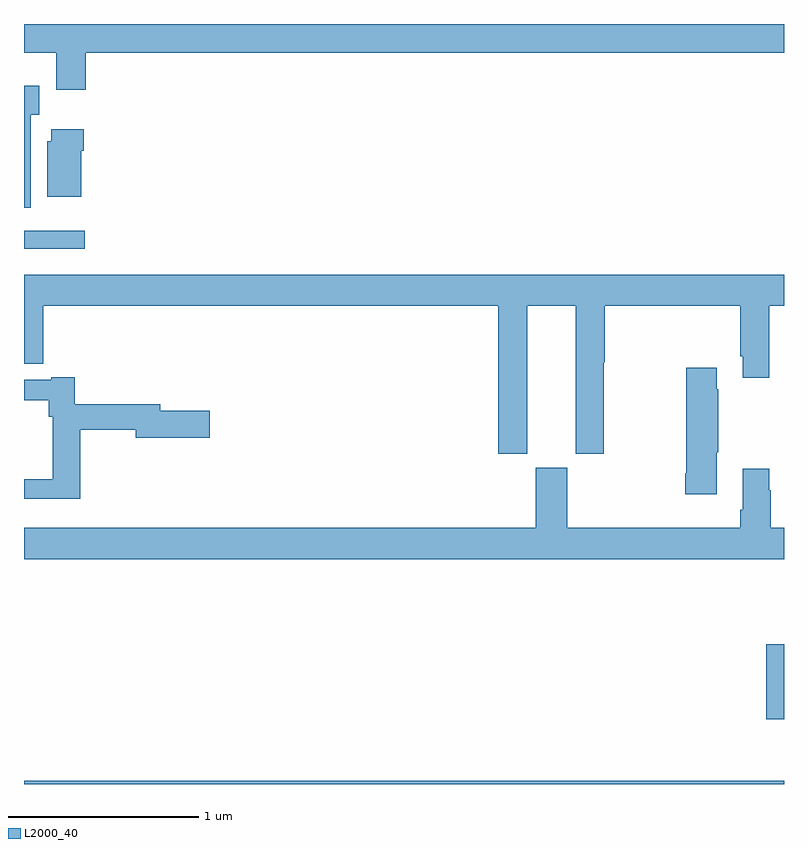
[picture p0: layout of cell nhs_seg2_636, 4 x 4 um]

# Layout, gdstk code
import gdstk
lib = gdstk.Library(unit=1e-6, precision=1e-09)
def R(c, l, rs):  # rectangles x0, y0, x1, y1
    for r in rs: c.add(gdstk.rectangle(r[:2], r[2:], *l))
def P(c, l, *ps):  # polygons
    for p in ps: c.add(gdstk.Polygon(p, *l))
L2000_40 = (2000, 40)

nhs_seg2_636 = lib.new_cell('nhs_seg2_636')
R(nhs_seg2_636, L2000_40, [(143,631.8,147,631.816), (146.906,632.142,147,632.536), (143,634.616,143.32,634.713)])
P(nhs_seg2_636, L2000_40, [(143.324,635.648),(147,635.648),(147,635.8),(143,635.8),(143,635.648),(143.171,635.648),(143.171,635.454),(143.324,635.454)],
  [(143.035,635.322),(143.08,635.322),(143.08,635.476),(143,635.476),(143,634.833),(143.035,634.833)],
  [(143.302,635.132),(143.315,635.132),(143.315,635.245),(143.144,635.245),(143.144,635.184),(143.123,635.184),(143.123,634.892),(143.302,634.892)],
  [(145.648,634.316),(145.904,634.316),(145.904,633.537),(146.052,633.537),(146.052,634.02),(146.057,634.02),(146.057,634.316),(146.771,634.316),(146.771,634.051),(146.783,634.051),(146.783,633.939),(146.923,633.939),(146.923,634.316),(147,634.316),(147,634.48),(143,634.48),(143,634.012),(143.102,634.012),(143.102,634.316),(145.496,634.316),(145.496,633.537),(145.648,633.537)],
  [(146.647,633.547),(146.655,633.547),(146.655,633.878),(146.647,633.878),(146.647,633.991),(146.485,633.991),(146.485,633.436),(146.48,633.436),(146.48,633.324),(146.647,633.324)],
  [(143.297,633.664),(143.588,633.664),(143.588,633.622),(143.977,633.622),(143.977,633.764),(143.716,633.764),(143.716,633.8),(143.267,633.8),(143.267,633.94),(143.144,633.94),(143.144,633.927),(143,633.927),(143,633.819),(143.131,633.819),(143.131,633.734),(143.15,633.734),(143.15,633.404),(143,633.404),(143,633.302),(143.297,633.302)],
  [(147,633.148),(146.931,633.148),(146.931,633.347),(146.923,633.347),(146.923,633.46),(146.783,633.46),(146.783,633.244),(146.771,633.244),(146.771,633.148),(145.858,633.148),(145.858,633.465),(145.694,633.465),(145.694,633.148),(143,633.148),(143,632.984),(147,632.984)])

lib.write_gds('nhs_seg2_636.gds')
